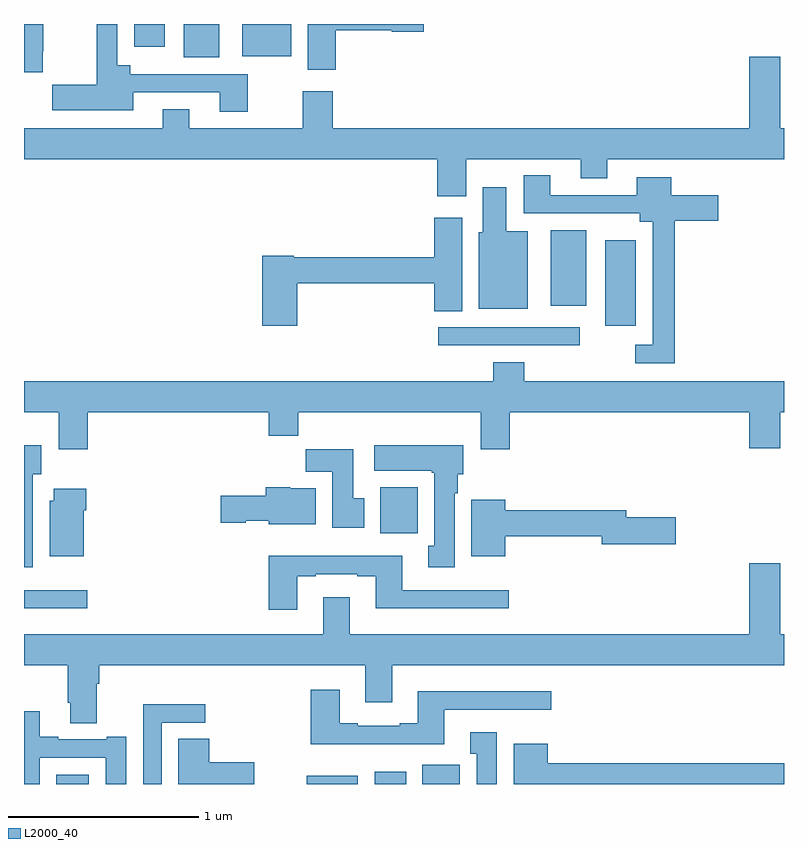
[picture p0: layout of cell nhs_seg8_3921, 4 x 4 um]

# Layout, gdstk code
import gdstk
lib = gdstk.Library(unit=1e-6, precision=1e-09)
def R(c, l, rs):  # rectangles x0, y0, x1, y1
    for r in rs: c.add(gdstk.rectangle(r[:2], r[2:], *l))
def P(c, l, *ps):  # polygons
    for p in ps: c.add(gdstk.Polygon(p, *l))
L2000_40 = (2000, 40)

nhs_seg8_3921 = lib.new_cell('nhs_seg8_3921')
R(nhs_seg8_3921, L2000_40, [(353.171,1091.9,353.341,1091.95), (354.488,1091.9,354.757,1091.944), (354.845,1091.9,355.012,1091.965), (355.097,1091.9,355.293,1092.001), (353,1092.824,353.332,1092.921), (354.875,1093.22,355.072,1093.462), (355.179,1094.208,355.924,1094.304), (356.06,1094.313,356.221,1094.761), (355.772,1094.417,355.96,1094.815), (353.84,1095.725,354.028,1095.9), (354.149,1095.731,354.406,1095.9), (353.579,1095.78,353.74,1095.9)])
P(nhs_seg8_3921, L2000_40, [(354.641,1095.868),(354.936,1095.868),(354.936,1095.86),(355.103,1095.86),(355.103,1095.9),(354.494,1095.9),(354.494,1095.66),(354.641,1095.66)],
  [(354.177,1095.636),(353.56,1095.636),(353.56,1095.682),(353.49,1095.682),(353.49,1095.9),(353.382,1095.9),(353.382,1095.58),(353.148,1095.58),(353.148,1095.446),(353.575,1095.446),(353.575,1095.54),(354.029,1095.54),(354.029,1095.438),(354.177,1095.438)],
  [(353.099,1095.757),(353.1,1095.757),(353.1,1095.9),(353,1095.9),(353,1095.645),(353.099,1095.645)],
  [(355.327,1095.188),(355.931,1095.188),(355.931,1095.089),(356.071,1095.089),(356.071,1095.188),(357,1095.188),(357,1095.352),(356.98,1095.352),(356.98,1095.727),(356.816,1095.727),(356.816,1095.352),(354.626,1095.352),(354.626,1095.547),(354.466,1095.547),(354.466,1095.352),(353.869,1095.352),(353.869,1095.451),(353.729,1095.451),(353.729,1095.352),(353,1095.352),(353,1095.188),(355.175,1095.188),(355.175,1094.994),(355.327,1094.994)],
  [(356.426,1094.864),(356.653,1094.864),(356.653,1094.998),(356.407,1094.998),(356.407,1095.094),(356.225,1095.094),(356.225,1095),(355.771,1095),(355.771,1095.103),(355.631,1095.103),(355.631,1094.904),(356.24,1094.904),(356.24,1094.858),(356.31,1094.858),(356.31,1094.211),(356.217,1094.211),(356.217,1094.115),(356.426,1094.115)],
  [(355.651,1094.809),(355.537,1094.809),(355.537,1095.04),(355.415,1095.04),(355.415,1094.805),(355.394,1094.805),(355.394,1094.402),(355.651,1094.402)],
  [(354.437,1094.536),(355.16,1094.536),(355.16,1094.389),(355.306,1094.389),(355.306,1094.881),(355.16,1094.881),(355.16,1094.672),(354.42,1094.672),(354.42,1094.68),(354.254,1094.68),(354.254,1094.313),(354.437,1094.313)],
  [(353.336,1093.856),(354.287,1093.856),(354.287,1093.732),(354.443,1093.732),(354.443,1093.856),(355.403,1093.856),(355.403,1093.662),(355.556,1093.662),(355.556,1093.856),(356.816,1093.856),(356.816,1093.668),(356.98,1093.668),(356.98,1093.856),(357,1093.856),(357,1094.02),(355.634,1094.02),(355.634,1094.119),(355.469,1094.119),(355.469,1094.02),(353,1094.02),(353,1093.856),(353.183,1093.856),(353.183,1093.662),(353.336,1093.662)],
  [(355.267,1093.43),(355.282,1093.43),(355.282,1093.53),(355.312,1093.53),(355.312,1093.684),(354.843,1093.684),(354.843,1093.55),(355.147,1093.55),(355.147,1093.537),(355.16,1093.537),(355.16,1093.154),(355.127,1093.154),(355.127,1093.041),(355.267,1093.041)],
  [(353.047,1093.53),(353.092,1093.53),(353.092,1093.684),(353,1093.684),(353,1093.041),(353.047,1093.041)],
  [(354.79,1093.404),(354.733,1093.404),(354.733,1093.663),(354.484,1093.663),(354.484,1093.544),(354.623,1093.544),(354.623,1093.248),(354.79,1093.248)],
  [(354.535,1093.456),(354.402,1093.456),(354.402,1093.462),(354.272,1093.462),(354.272,1093.416),(354.036,1093.416),(354.036,1093.274),(354.168,1093.274),(354.168,1093.286),(354.288,1093.286),(354.288,1093.268),(354.535,1093.268)],
  [(353.314,1093.34),(353.327,1093.34),(353.327,1093.453),(353.156,1093.453),(353.156,1093.392),(353.135,1093.392),(353.135,1093.1),(353.314,1093.1)],
  [(355.534,1093.204),(356.042,1093.204),(356.042,1093.162),(356.431,1093.162),(356.431,1093.304),(356.17,1093.304),(356.17,1093.34),(355.534,1093.34),(355.534,1093.396),(355.355,1093.396),(355.355,1093.1),(355.534,1093.1)],
  [(354.439,1092.993),(354.535,1092.993),(354.535,1093.005),(354.755,1093.005),(354.755,1092.993),(354.851,1092.993),(354.851,1092.824),(355.552,1092.824),(355.552,1092.921),(354.991,1092.921),(354.991,1093.102),(354.287,1093.102),(354.287,1092.816),(354.439,1092.816)],
  [(353.383,1092.428),(353.396,1092.428),(353.396,1092.524),(354.797,1092.524),(354.797,1092.33),(354.937,1092.33),(354.937,1092.524),(357,1092.524),(357,1092.688),(356.98,1092.688),(356.98,1093.063),(356.816,1093.063),(356.816,1092.688),(354.715,1092.688),(354.715,1092.883),(354.575,1092.883),(354.575,1092.688),(353,1092.688),(353,1092.524),(353.231,1092.524),(353.231,1092.328),(353.243,1092.328),(353.243,1092.22),(353.383,1092.22)],
  [(355.213,1092.291),(355.774,1092.291),(355.774,1092.388),(355.073,1092.388),(355.073,1092.22),(354.977,1092.22),(354.977,1092.207),(354.757,1092.207),(354.757,1092.22),(354.661,1092.22),(354.661,1092.397),(354.509,1092.397),(354.509,1092.11),(355.213,1092.11)],
  [(353.724,1092.222),(353.953,1092.222),(353.953,1092.32),(353.628,1092.32),(353.628,1091.9),(353.724,1091.9)],
  [(353.082,1092.039),(353.429,1092.039),(353.429,1091.9),(353.539,1091.9),(353.539,1092.148),(353.435,1092.148),(353.435,1092.135),(353.179,1092.135),(353.179,1092.148),(353.083,1092.148),(353.083,1092.283),(353,1092.283),(353,1091.9),(353.082,1091.9)],
  [(355.489,1092.172),(355.349,1092.172),(355.349,1092.059),(355.382,1092.059),(355.382,1091.9),(355.489,1091.9)],
  [(354.211,1092.014),(353.975,1092.014),(353.975,1092.137),(353.813,1092.137),(353.813,1091.9),(354.211,1091.9)],
  [(357,1092.008),(355.756,1092.008),(355.756,1092.112),(355.577,1092.112),(355.577,1091.9),(357,1091.9)])

lib.write_gds('nhs_seg8_3921.gds')
